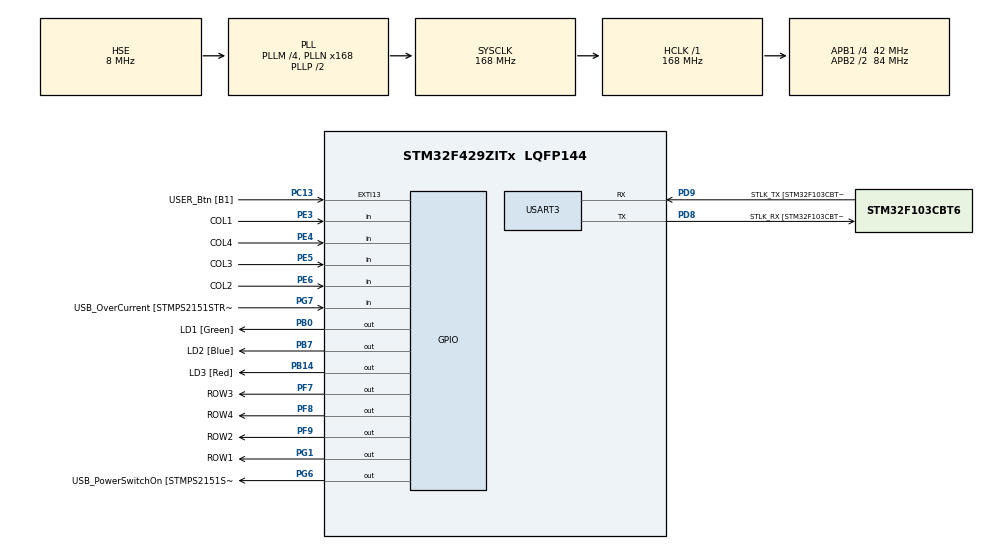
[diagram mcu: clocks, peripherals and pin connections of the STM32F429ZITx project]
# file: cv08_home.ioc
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Mcu.Family=STM32F4
Mcu.Name=STM32F429ZITx
Mcu.Package=LQFP144
NVIC.PriorityGroup=NVIC_PRIORITYGROUP_4
NVIC.TIM2_IRQn=true\:0\:0\:false\:false\:true\:true\:true
PA1.GPIO_Label=RMII_REF_CLK [LAN8742A-CZ-TR_REFCLK0]
PA1.Signal=ETH_REF_CLK
PA10.GPIO_Label=USB_ID
PA10.Signal=USB_OTG_FS_ID
PA11.GPIO_Label=USB_DM
PA11.Signal=USB_OTG_FS_DM
PA12.GPIO_Label=USB_DP
PA12.Signal=USB_OTG_FS_DP
PA13.GPIO_Label=TMS
PA13.Mode=Serial_Wire
PA13.Signal=SYS_JTMS-SWDIO
PA14.GPIO_Label=TCK
PA14.Mode=Serial_Wire
PA14.Signal=SYS_JTCK-SWCLK
PA2.GPIO_Label=RMII_MDIO [LAN8742A-CZ-TR_MDIO]
PA2.Signal=ETH_MDIO
PA7.GPIO_Label=RMII_CRS_DV [LAN8742A-CZ-TR_CRS_DV]
PA7.Signal=ETH_CRS_DV
PA8.GPIO_Label=USB_SOF [TP1]
PA8.Signal=USB_OTG_FS_SOF
PA9.GPIO_Label=USB_VBUS
PA9.Signal=USB_OTG_FS_VBUS
PB0.GPIO_Label=LD1 [Green]
PB0.Signal=GPIO_Output
PB13.GPIO_Label=RMII_TXD1 [LAN8742A-CZ-TR_TXD1]
PB13.Signal=ETH_TXD1
PB14.GPIO_Label=LD3 [Red]
PB14.Signal=GPIO_Output
PB7.GPIO_Label=LD2 [Blue]
PB7.Signal=GPIO_Output
PC1.GPIO_Label=RMII_MDC [LAN8742A-CZ-TR_MDC]
PC1.Signal=ETH_MDC
PC13.GPIO_Label=USER_Btn [B1]
PC13.Signal=GPXTI13
PC14/OSC32_IN.Mode=LSE-External-Oscillator
PC14/OSC32_IN.Signal=RCC_OSC32_IN
PC15/OSC32_OUT.Mode=LSE-External-Oscillator
PC15/OSC32_OUT.Signal=RCC_OSC32_OUT
PC4.GPIO_Label=RMII_RXD0 [LAN8742A-CZ-TR_RXD0]
PC4.Signal=ETH_RXD0
PC5.GPIO_Label=RMII_RXD1 [LAN8742A-CZ-TR_RXD1]
PC5.Signal=ETH_RXD1
PD8.GPIO_Label=STLK_RX [STM32F103CBT6_PA3]
PD8.Mode=Asynchronous
PD8.Signal=USART3_TX
PD9.GPIO_Label=STLK_TX [STM32F103CBT6_PA2]
PD9.Mode=Asynchronous
PD9.Signal=USART3_RX
PE3.GPIO_Label=COL1
PE3.GPIO_Mode=GPIO_MODE_INPUT
PE3.GPIO_PuPd=GPIO_PULLUP
PE3.Signal=GPIO_Input
PE4.GPIO_Label=COL4
PE4.GPIO_PuPd=GPIO_PULLUP
PE4.Signal=GPIO_Input
PE5.GPIO_Label=COL3
PE5.GPIO_PuPd=GPIO_PULLUP
PE5.Signal=GPIO_Input
PE6.GPIO_Label=COL2
PE6.GPIO_PuPd=GPIO_PULLUP
PE6.Signal=GPIO_Input
PF7.GPIO_Label=ROW3
PF7.GPIO_ModeDefaultOutputPP=GPIO_MODE_OUTPUT_OD
PF7.Signal=GPIO_Output
PF8.GPIO_Label=ROW4
PF8.GPIO_ModeDefaultOutputPP=GPIO_MODE_OUTPUT_OD
PF8.Signal=GPIO_Output
PF9.GPIO_Label=ROW2
PF9.GPIO_ModeDefaultOutputPP=GPIO_MODE_OUTPUT_OD
PF9.Signal=GPIO_Output
PG1.GPIO_Label=ROW1
PG1.GPIO_ModeDefaultOutputPP=GPIO_MODE_OUTPUT_OD
PG1.Signal=GPIO_Output
PG11.GPIO_Label=RMII_TX_EN [LAN8742A-CZ-TR_TXEN]
PG11.Signal=ETH_TX_EN
PG13.GPIO_Label=RMII_TXD0 [LAN8742A-CZ-TR_TXD0]
PG13.Signal=ETH_TXD0
PG6.GPIO_Label=USB_PowerSwitchOn [STMPS2151STR_EN]
PG6.Signal=GPIO_Output
PG7.GPIO_Label=USB_OverCurrent [STMPS2151STR_FAULT]
PG7.Signal=GPIO_Input
PH0/OSC_IN.GPIO_Label=MCO [STM32F103CBT6_PA8]
PH0/OSC_IN.Mode=HSE-External-Clock-Source
PH0/OSC_IN.Signal=RCC_OSC_IN
PH1/OSC_OUT.Mode=HSE-External-Clock-Source
PH1/OSC_OUT.Signal=RCC_OSC_OUT
ProjectManager.HeapSize=0x200
ProjectManager.StackSize=0x400
ProjectManager.TargetToolchain=STM32CubeIDE
RCC.48MHZClocksFreq_Value=48000000
RCC.AHBFreq_Value=168000000
RCC.APB1CLKDivider=RCC_HCLK_DIV4
RCC.APB1Freq_Value=42000000
RCC.APB1TimFreq_Value=84000000
RCC.APB2CLKDivider=RCC_HCLK_DIV2
RCC.APB2Freq_Value=84000000
RCC.APB2TimCLKDivider=2
RCC.APB2TimFreq_Value=168000000
RCC.CortexFreq_Value=168000000
RCC.HCLKFreq_Value=168000000
RCC.HSE_VALUE=8000000
RCC.HSI_VALUE=16000000
RCC.PLLM=4
RCC.PLLMUL=RCC_PLL_MUL9
RCC.PLLN=168
RCC.PLLQ=7
RCC.PLLSourceVirtual=RCC_PLLSOURCE_HSE
RCC.PRESCALERUSB=RCC_USBCLKSOURCE_PLL_DIV1_5
RCC.SYSCLKFreq_VALUE=168000000
RCC.SYSCLKSource=RCC_SYSCLKSOURCE_PLLCLK
RCC.SYSCLKSourceVirtual=RCC_SYSCLKSOURCE_PLLCLK
RCC.USBFreq_Value=48000000
RCC.VCOOutputFreq_Value=336000000
TIM2.AutoReloadPreload=TIM_AUTORELOAD_PRELOAD_ENABLE
TIM2.Period=99
TIM2.Prescaler=8399
USART3.VirtualMode=VM_ASYNC
VP_TIM2_VS_ClockSourceINT.Mode=Internal
board=NUCLEO-F429ZI

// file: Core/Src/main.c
/* USER CODE BEGIN Header */
/**
  ******************************************************************************
  * @file           : main.c
  * @brief          : Main program body
  ******************************************************************************
  * @attention
  *
  * <h2><center>&copy; Copyright (c) 2020 STMicroelectronics.
  * All rights reserved.</center></h2>
  *
  * This software component is licensed by ST under BSD 3-Clause license,
  * the "License"; You may not use this file except in compliance with the
  * License. You may obtain a copy of the License at:
  *                        opensource.org/licenses/BSD-3-Clause
  *
  ******************************************************************************
  */
/* USER CODE END Header */

#include "main.h"

/* USER CODE BEGIN Includes */
#include <stdio.h>
/* USER CODE END Includes */

/* USER CODE BEGIN PD */
# define DELAY 3000
/* USER CODE END PD */

TIM_HandleTypeDef htim2;

UART_HandleTypeDef huart3;

/* USER CODE BEGIN PV */
int16_t key = -1;
uint16_t code[5] = { 7, 9, 3, 2, 12 };
/* USER CODE END PV */

void SystemClock_Config(void);
static void MX_GPIO_Init(void);
static void MX_USART3_UART_Init(void);
static void MX_TIM2_Init(void);

/* USER CODE BEGIN 0 */
int __io_putchar(int ch)
{
 ITM_SendChar(ch);
return 0;
}
/* USER CODE END 0 */

int main(void)
{
  /* USER CODE BEGIN 1 */
  uint16_t pressed[5] = { 0, 0, 0, 0, 0 };
  uint16_t i = 0;
  uint16_t equal = 0;
  uint16_t delay = 0;

  /* USER CODE END 1 */

  /* MCU Configuration--------------------------------------------------------*/

  /* Reset of all peripherals, Initializes the Flash interface and the Systick. */
  HAL_Init();

  /* Configure the system clock */
  SystemClock_Config();

  /* Initialize all configured peripherals */
  MX_GPIO_Init();
  MX_USART3_UART_Init();
  MX_TIM2_Init();
  /* USER CODE BEGIN 2 */
  HAL_TIM_Base_Start_IT(&htim2);
  /* USER CODE END 2 */

  /* Infinite loop */
  /* USER CODE BEGIN WHILE */
  while (1)
  {
	  //HAL_GPIO_TogglePin(LD1_GPIO_Port, LD1_Pin);
	  //HAL_Delay(250);
	  if (HAL_GetTick() - delay > DELAY)
	  {
		  printf ("time out \n");

		  if (i != 0)
		  {
			  pressed[i] = 0;
			  i = 0;
		  }

		  if (equal != 0)
		  {
			  equal = 0;
		  }
		  printf ("Start from the beginning \n");
	  }

	  if (key != -1)
	  {
		  delay = HAL_GetTick();
		  printf ("pressed %d\n", key);
		  pressed[i] = key;

		  if (pressed[i] == code[i])
		  {
			  equal++;
		  }
		  i++;

		  if (i == 5)
		  {
			  if (equal == 5)
			  {
				  printf ("authorization code accepted \n");
				  HAL_GPIO_WritePin(LD1_GPIO_Port, LD1_Pin, GPIO_PIN_SET);
				  HAL_Delay(1000);
				  HAL_GPIO_WritePin(LD1_GPIO_Port, LD1_Pin, GPIO_PIN_RESET);
				  equal = 0;
			  }
			  i = 0;
		  }

	  }
    /* USER CODE END WHILE */

  }
}

void SystemClock_Config(void)
{
  RCC_OscInitTypeDef RCC_OscInitStruct = {0};
  RCC_ClkInitTypeDef RCC_ClkInitStruct = {0};

  /** Configure the main internal regulator output voltage
  */
  __HAL_RCC_PWR_CLK_ENABLE();
  __HAL_PWR_VOLTAGESCALING_CONFIG(PWR_REGULATOR_VOLTAGE_SCALE1);
  /** Initializes the CPU, AHB and APB busses clocks
  */
  RCC_OscInitStruct.OscillatorType = RCC_OSCILLATORTYPE_HSE;
  RCC_OscInitStruct.HSEState = RCC_HSE_BYPASS;
  RCC_OscInitStruct.PLL.PLLState = RCC_PLL_ON;
  RCC_OscInitStruct.PLL.PLLSource = RCC_PLLSOURCE_HSE;
  RCC_OscInitStruct.PLL.PLLM = 4;
  RCC_OscInitStruct.PLL.PLLN = 168;
  RCC_OscInitStruct.PLL.PLLP = RCC_PLLP_DIV2;
  RCC_OscInitStruct.PLL.PLLQ = 7;
  if (HAL_RCC_OscConfig(&RCC_OscInitStruct) != HAL_OK)
  {
    Error_Handler();
  }
  /** Initializes the CPU, AHB and APB busses clocks
  */
  RCC_ClkInitStruct.ClockType = RCC_CLOCKTYPE_HCLK|RCC_CLOCKTYPE_SYSCLK
                              |RCC_CLOCKTYPE_PCLK1|RCC_CLOCKTYPE_PCLK2;
  RCC_ClkInitStruct.SYSCLKSource = RCC_SYSCLKSOURCE_PLLCLK;
  RCC_ClkInitStruct.AHBCLKDivider = RCC_SYSCLK_DIV1;
  RCC_ClkInitStruct.APB1CLKDivider = RCC_HCLK_DIV4;
  RCC_ClkInitStruct.APB2CLKDivider = RCC_HCLK_DIV2;

  if (HAL_RCC_ClockConfig(&RCC_ClkInitStruct, FLASH_LATENCY_5) != HAL_OK)
  {
    Error_Handler();
  }
}

static void MX_TIM2_Init(void)
{

  TIM_ClockConfigTypeDef sClockSourceConfig = {0};
  TIM_MasterConfigTypeDef sMasterConfig = {0};

  htim2.Instance = TIM2;
  htim2.Init.Prescaler = 8399;
  htim2.Init.CounterMode = TIM_COUNTERMODE_UP;
  htim2.Init.Period = 99;
  htim2.Init.ClockDivision = TIM_CLOCKDIVISION_DIV1;
  htim2.Init.AutoReloadPreload = TIM_AUTORELOAD_PRELOAD_ENABLE;
  if (HAL_TIM_Base_Init(&htim2) != HAL_OK)
  {
    Error_Handler();
  }
  sClockSourceConfig.ClockSource = TIM_CLOCKSOURCE_INTERNAL;
  if (HAL_TIM_ConfigClockSource(&htim2, &sClockSourceConfig) != HAL_OK)
  {
    Error_Handler();
  }
  sMasterConfig.MasterOutputTrigger = TIM_TRGO_RESET;
  sMasterConfig.MasterSlaveMode = TIM_MASTERSLAVEMODE_DISABLE;
  if (HAL_TIMEx_MasterConfigSynchronization(&htim2, &sMasterConfig) != HAL_OK)
  {
    Error_Handler();
  }

}

static void MX_USART3_UART_Init(void)
{

  huart3.Instance = USART3;
  huart3.Init.BaudRate = 115200;
  huart3.Init.WordLength = UART_WORDLENGTH_8B;
  huart3.Init.StopBits = UART_STOPBITS_1;
  huart3.Init.Parity = UART_PARITY_NONE;
  huart3.Init.Mode = UART_MODE_TX_RX;
  huart3.Init.HwFlowCtl = UART_HWCONTROL_NONE;
  huart3.Init.OverSampling = UART_OVERSAMPLING_16;
  if (HAL_UART_Init(&huart3) != HAL_OK)
  {
    Error_Handler();
  }

}

static void MX_GPIO_Init(void)
{
  GPIO_InitTypeDef GPIO_InitStruct = {0};

  /* GPIO Ports Clock Enable */
  __HAL_RCC_GPIOE_CLK_ENABLE();
  __HAL_RCC_GPIOC_CLK_ENABLE();
  __HAL_RCC_GPIOF_CLK_ENABLE();
  __HAL_RCC_GPIOH_CLK_ENABLE();
  __HAL_RCC_GPIOA_CLK_ENABLE();
  __HAL_RCC_GPIOB_CLK_ENABLE();
  __HAL_RCC_GPIOG_CLK_ENABLE();
  __HAL_RCC_GPIOD_CLK_ENABLE();

  /*Configure GPIO pin Output Level */
  HAL_GPIO_WritePin(GPIOF, ROW3_Pin|ROW4_Pin|ROW2_Pin, GPIO_PIN_RESET);

  /*Configure GPIO pin Output Level */
  HAL_GPIO_WritePin(GPIOB, LD1_Pin|LD3_Pin|LD2_Pin, GPIO_PIN_RESET);

  /*Configure GPIO pin Output Level */
  HAL_GPIO_WritePin(GPIOG, ROW1_Pin|USB_PowerSwitchOn_Pin, GPIO_PIN_RESET);

  /*Configure GPIO pins : COL1_Pin COL4_Pin COL3_Pin COL2_Pin */
  GPIO_InitStruct.Pin = COL1_Pin|COL4_Pin|COL3_Pin|COL2_Pin;
  GPIO_InitStruct.Mode = GPIO_MODE_INPUT;
  GPIO_InitStruct.Pull = GPIO_PULLUP;
  HAL_GPIO_Init(GPIOE, &GPIO_InitStruct);

  /*Configure GPIO pin : USER_Btn_Pin */
  GPIO_InitStruct.Pin = USER_Btn_Pin;
  GPIO_InitStruct.Mode = GPIO_MODE_IT_RISING;
  GPIO_InitStruct.Pull = GPIO_NOPULL;
  HAL_GPIO_Init(USER_Btn_GPIO_Port, &GPIO_InitStruct);

  /*Configure GPIO pins : ROW3_Pin ROW4_Pin ROW2_Pin */
  GPIO_InitStruct.Pin = ROW3_Pin|ROW4_Pin|ROW2_Pin;
  GPIO_InitStruct.Mode = GPIO_MODE_OUTPUT_OD;
  GPIO_InitStruct.Pull = GPIO_NOPULL;
  GPIO_InitStruct.Speed = GPIO_SPEED_FREQ_LOW;
  HAL_GPIO_Init(GPIOF, &GPIO_InitStruct);

  /*Configure GPIO pins : RMII_MDC_Pin RMII_RXD0_Pin RMII_RXD1_Pin */
  GPIO_InitStruct.Pin = RMII_MDC_Pin|RMII_RXD0_Pin|RMII_RXD1_Pin;
  GPIO_InitStruct.Mode = GPIO_MODE_AF_PP;
  GPIO_InitStruct.Pull = GPIO_NOPULL;
  GPIO_InitStruct.Speed = GPIO_SPEED_FREQ_VERY_HIGH;
  GPIO_InitStruct.Alternate = GPIO_AF11_ETH;
  HAL_GPIO_Init(GPIOC, &GPIO_InitStruct);

  /*Configure GPIO pins : RMII_REF_CLK_Pin RMII_MDIO_Pin RMII_CRS_DV_Pin */
  GPIO_InitStruct.Pin = RMII_REF_CLK_Pin|RMII_MDIO_Pin|RMII_CRS_DV_Pin;
  GPIO_InitStruct.Mode = GPIO_MODE_AF_PP;
  GPIO_InitStruct.Pull = GPIO_NOPULL;
  GPIO_InitStruct.Speed = GPIO_SPEED_FREQ_VERY_HIGH;
  GPIO_InitStruct.Alternate = GPIO_AF11_ETH;
  HAL_GPIO_Init(GPIOA, &GPIO_InitStruct);

  /*Configure GPIO pins : LD1_Pin LD3_Pin LD2_Pin */
  GPIO_InitStruct.Pin = LD1_Pin|LD3_Pin|LD2_Pin;
  GPIO_InitStruct.Mode = GPIO_MODE_OUTPUT_PP;
  GPIO_InitStruct.Pull = GPIO_NOPULL;
  GPIO_InitStruct.Speed = GPIO_SPEED_FREQ_LOW;
  HAL_GPIO_Init(GPIOB, &GPIO_InitStruct);

  /*Configure GPIO pin : ROW1_Pin */
  GPIO_InitStruct.Pin = ROW1_Pin;
  GPIO_InitStruct.Mode = GPIO_MODE_OUTPUT_OD;
  GPIO_InitStruct.Pull = GPIO_NOPULL;
  GPIO_InitStruct.Speed = GPIO_SPEED_FREQ_LOW;
  HAL_GPIO_Init(ROW1_GPIO_Port, &GPIO_InitStruct);

  /*Configure GPIO pin : RMII_TXD1_Pin */
  GPIO_InitStruct.Pin = RMII_TXD1_Pin;
  GPIO_InitStruct.Mode = GPIO_MODE_AF_PP;
  GPIO_InitStruct.Pull = GPIO_NOPULL;
  GPIO_InitStruct.Speed = GPIO_SPEED_FREQ_VERY_HIGH;
  GPIO_InitStruct.Alternate = GPIO_AF11_ETH;
  HAL_GPIO_Init(RMII_TXD1_GPIO_Port, &GPIO_InitStruct);

  /*Configure GPIO pin : USB_PowerSwitchOn_Pin */
  GPIO_InitStruct.Pin = USB_PowerSwitchOn_Pin;
  GPIO_InitStruct.Mode = GPIO_MODE_OUTPUT_PP;
  GPIO_InitStruct.Pull = GPIO_NOPULL;
  GPIO_InitStruct.Speed = GPIO_SPEED_FREQ_LOW;
  HAL_GPIO_Init(USB_PowerSwitchOn_GPIO_Port, &GPIO_InitStruct);

  /*Configure GPIO pin : USB_OverCurrent_Pin */
  GPIO_InitStruct.Pin = USB_OverCurrent_Pin;
  GPIO_InitStruct.Mode = GPIO_MODE_INPUT;
  GPIO_InitStruct.Pull = GPIO_NOPULL;
  HAL_GPIO_Init(USB_OverCurrent_GPIO_Port, &GPIO_InitStruct);

  /*Configure GPIO pins : USB_SOF_Pin USB_ID_Pin USB_DM_Pin USB_DP_Pin */
  GPIO_InitStruct.Pin = USB_SOF_Pin|USB_ID_Pin|USB_DM_Pin|USB_DP_Pin;
  GPIO_InitStruct.Mode = GPIO_MODE_AF_PP;
  GPIO_InitStruct.Pull = GPIO_NOPULL;
  GPIO_InitStruct.Speed = GPIO_SPEED_FREQ_VERY_HIGH;
  GPIO_InitStruct.Alternate = GPIO_AF10_OTG_FS;
  HAL_GPIO_Init(GPIOA, &GPIO_InitStruct);

  /*Configure GPIO pin : USB_VBUS_Pin */
  GPIO_InitStruct.Pin = USB_VBUS_Pin;
  GPIO_InitStruct.Mode = GPIO_MODE_INPUT;
  GPIO_InitStruct.Pull = GPIO_NOPULL;
  HAL_GPIO_Init(USB_VBUS_GPIO_Port, &GPIO_InitStruct);

  /*Configure GPIO pins : RMII_TX_EN_Pin RMII_TXD0_Pin */
  GPIO_InitStruct.Pin = RMII_TX_EN_Pin|RMII_TXD0_Pin;
  GPIO_InitStruct.Mode = GPIO_MODE_AF_PP;
  GPIO_InitStruct.Pull = GPIO_NOPULL;
  GPIO_InitStruct.Speed = GPIO_SPEED_FREQ_VERY_HIGH;
  GPIO_InitStruct.Alternate = GPIO_AF11_ETH;
  HAL_GPIO_Init(GPIOG, &GPIO_InitStruct);

}

/* USER CODE BEGIN 4 */
void HAL_TIM_PeriodElapsedCallback(TIM_HandleTypeDef *htim)
{
	static int row = 0;
	static const int keyboard[4][4] = {
			{ 1, 2, 3, 21 },
			{ 4, 5, 6, 22 },
			{ 7, 8, 9, 23 },
			{ 11, 0, 12, 24 },
	};
	if (key == -1)
	{
		if (HAL_GPIO_ReadPin(COL1_GPIO_Port, COL1_Pin) == GPIO_PIN_RESET) key = keyboard[row][0];
		if (HAL_GPIO_ReadPin(COL2_GPIO_Port, COL2_Pin) == GPIO_PIN_RESET) key = keyboard[row][1];
		if (HAL_GPIO_ReadPin(COL3_GPIO_Port, COL3_Pin) == GPIO_PIN_RESET) key = keyboard[row][2];
		if (HAL_GPIO_ReadPin(COL4_GPIO_Port, COL4_Pin) == GPIO_PIN_RESET) key = keyboard[row][3];
	}
	HAL_GPIO_WritePin(ROW1_GPIO_Port, ROW1_Pin, GPIO_PIN_SET);
	HAL_GPIO_WritePin(ROW2_GPIO_Port, ROW2_Pin, GPIO_PIN_SET);
	HAL_GPIO_WritePin(ROW3_GPIO_Port, ROW3_Pin, GPIO_PIN_SET);
	HAL_GPIO_WritePin(ROW4_GPIO_Port, ROW4_Pin, GPIO_PIN_SET);
	switch (row)
	{
	case 0: row = 1; HAL_GPIO_WritePin(ROW1_GPIO_Port, ROW1_Pin, GPIO_PIN_RESET); break;
	case 1: row = 2; HAL_GPIO_WritePin(ROW2_GPIO_Port, ROW2_Pin, GPIO_PIN_RESET); break;
	case 2: row = 3; HAL_GPIO_WritePin(ROW1_GPIO_Port, ROW3_Pin, GPIO_PIN_RESET); break;
	case 3: row = 0; HAL_GPIO_WritePin(ROW2_GPIO_Port, ROW4_Pin, GPIO_PIN_RESET); break;
	}
}

/* USER CODE END 4 */

void Error_Handler(void)
{
}

/************************ (C) COPYRIGHT STMicroelectronics *****END OF FILE****/
